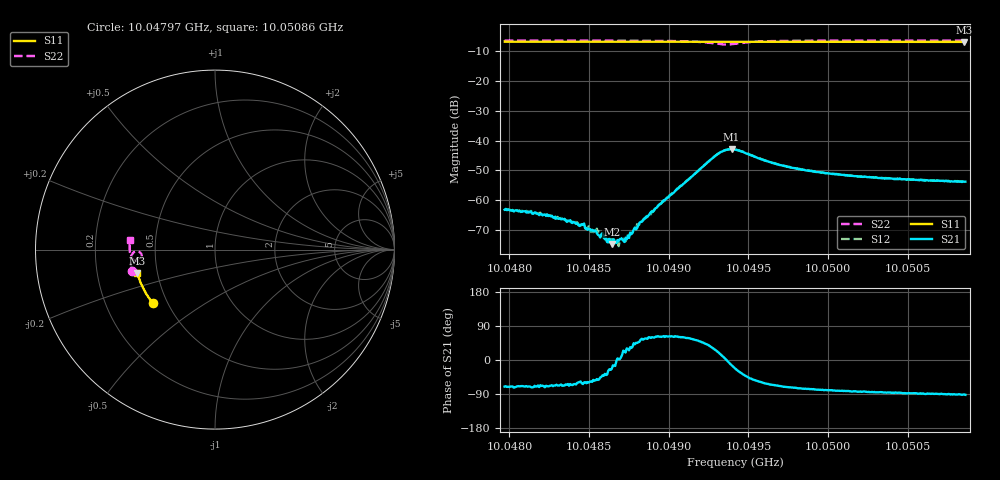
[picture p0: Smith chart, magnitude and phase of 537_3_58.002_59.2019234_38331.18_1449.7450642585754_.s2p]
#  HZ  S  RI  R  50.00
! Rohde & Schwarz Vector Network Analyzer
! Rohde-Schwarz,ZNB20-2Port,1311601062101988,3.16
! Created: UTC 3/21/2024, 1:14:21 AM
! freq[Hz]  re:S11  im:S11  re:S21  im:S21  re:S12  im:S12  re:S22  im:S22
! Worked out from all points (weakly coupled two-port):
!   401 points, 10.04797 GHz to 10.05086 GHz, reference 50 ohm
!   highest |S21| = -42.88 dB at 10.04939 GHz (marker M1); lowest = -74.6 dB at 10.04864 GHz (marker M2)
!   lowest |S11| = -6.9 dB at 10.05086 GHz (marker M3), VSWR 2.65, Z = 19.2 - j6.35 ohm
!   |S11| at or under -10 dB: nowhere
!   |S22| runs from -7.8 to -6.4 dB; largest |S21 - S12| = 0.00051
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1.004797e10  -0.3463 -0.2983  0.000237 -0.000654  0.000284 -0.000633  -0.4624 -0.1206
1.0048266e10  -0.3584 -0.2828  0.000217 -0.000504  0.00024 -0.000485  -0.4666 -0.1
1.0048454e10  -0.3656 -0.2729  0.000188 -0.000348  0.00019 -0.000325  -0.4686 -0.0863
1.0048527e10  -0.3684 -0.2691  0.000186 -0.000241  0.000182 -0.000227  -0.4692 -0.0808
1.0048563e10  -0.3697 -0.267  0.00016 -0.000199  0.000213 -0.000216  -0.4694 -0.078
1.0048592e10  -0.3708 -0.2654  0.000183 -0.000163  0.000188 -0.000141  -0.4697 -0.0757
1.0048628e10  -0.372 -0.2635  0.000208 -9.45e-05  0.000183 -0.000101  -0.4699 -0.0729
1.0048642e10  -0.3726 -0.2626  0.00017 -7.38e-05  0.000229 -7.43e-05  -0.4698 -0.0717
1.0048686e10  -0.3742 -0.2602  0.000206 8.6e-06  0.000165 4.02e-05  -0.4701 -0.0682
1.0048715e10  -0.3753 -0.2586  0.000192 8.8e-05  0.000222 4.86e-05  -0.4701 -0.0657
1.0048736e10  -0.3759 -0.2573  0.00019 0.000112  0.000219 0.00013  -0.4704 -0.064
1.004883e10  -0.3793 -0.2522  0.000241 0.000359  0.000245 0.000355  -0.4701 -0.0559
1.0048939e10  -0.3831 -0.246  0.000397 0.00074  0.000324 0.00076  -0.4689 -0.0451
1.0049293e10  -0.394 -0.2256  0.00498 0.00247  0.00484 0.0028  -0.4237 -0.0116
1.0049344e10  -0.3955 -0.2227  0.00668 0.000905  0.00663 0.00132  -0.4097 -0.026
1.0049394e10  -0.3969 -0.2201  0.00697 -0.00168  0.00708 -0.00124  -0.4107 -0.0479
1.0049416e10  -0.3976 -0.219  0.00654 -0.00263  0.00676 -0.0022  -0.416 -0.0553
1.0049677e10  -0.4056 -0.2039  0.00156 -0.00372  0.00178 -0.00367  -0.4664 -0.0422
1.0049901e10  -0.4117 -0.1906  0.000681 -0.00299  0.000869 -0.00298  -0.4736 -0.0187
1.0050385e10  -0.4233 -0.1609  0.00018 -0.00231  0.000296 -0.0023  -0.4753 0.02
1.0050855e10  -0.4326 -0.1315  -3.76e-05 -0.00205  7.64e-05 -0.00203  -0.4728 0.0532
1.0050862e10  -0.4329 -0.1311  -6.69e-05 -0.00205  5.14e-05 -0.00205  -0.4728 0.0538
